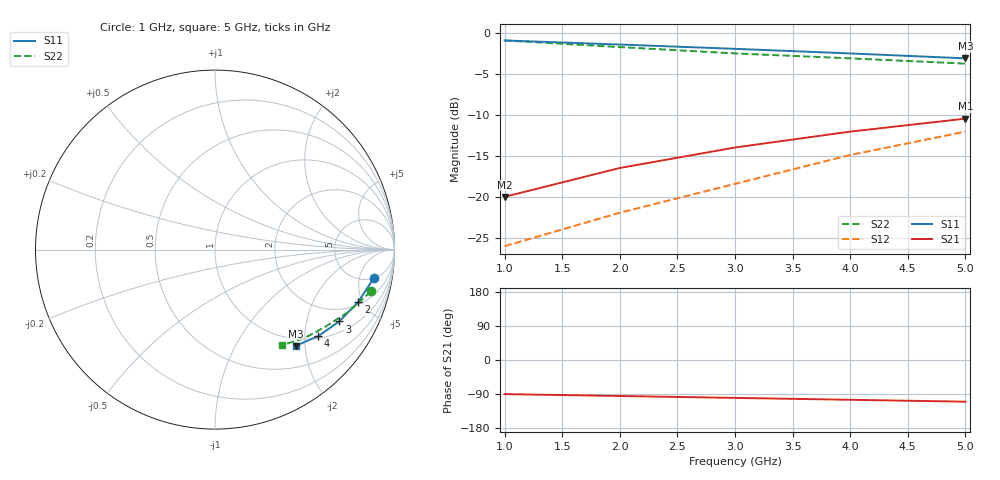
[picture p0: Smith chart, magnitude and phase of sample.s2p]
# GHz S MA R 50
! Sample 2-port S-parameter data
! This is a test file for v1 to v2 conversion
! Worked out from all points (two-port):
!   5 points, 1 GHz to 5 GHz, reference 50 ohm
!   highest |S21| = -10.46 dB at 5 GHz (marker M1); lowest = -20.0 dB at 1 GHz (marker M2)
!   |S21| within 3 dB of the highest: 3.269 GHz to end of sweep
!   lowest |S11| = -3.1 dB at 5 GHz (marker M3), VSWR 5.67, Z = 43.2 - j90.9 ohm
!   |S11| at or under -10 dB: nowhere
!   |S22| runs from -3.7 to -0.9 dB; largest |S21 - S12| = 0.48
!   S11 on the Smith chart (normalised r, x): 1 GHz: 5.09, -8.37; 2 GHz: 2.22, -4.65; 3 GHz: 1.42, -3.15; 4 GHz: 1.06, -2.33; 5 GHz: 0.86, -1.82
1  0.9 -10.0  0.1 -90.0  0.05 30.0  0.9 -15.0
2  0.85 -20.0  0.15 -95.0  0.08 25.0  0.82 -25.0
3  0.8 -30.0  0.2 -100.0  0.12 20.0  0.75 -35.0
4  0.75 -40.0  0.25 -105.0  0.18 15.0  0.7 -45.0
5  0.7 -50.0  0.3 -110.0  0.25 10.0  0.65 -55.0
